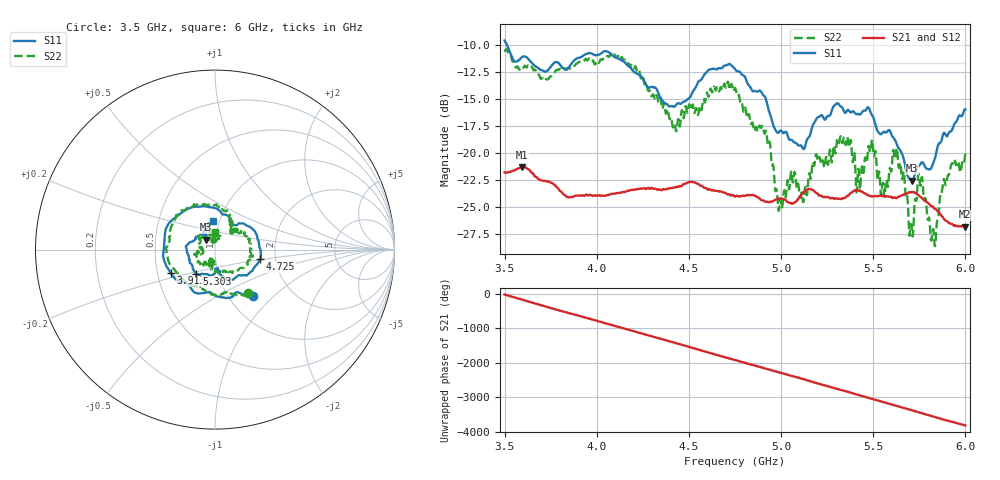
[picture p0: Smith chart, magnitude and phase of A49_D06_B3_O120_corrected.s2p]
! Created with skrf 1.9.0 (http://scikit-rf.org).
# Hz S RI R 50.0
!freq ReS11 ImS11 ReS21 ImS21 ReS12 ImS12 ReS22 ImS22
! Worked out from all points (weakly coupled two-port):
!   1601 points, 3.5 GHz to 6 GHz, reference 50 ohm
!   highest |S21| = -21.27 dB at 3.594 GHz (marker M1); lowest = -26.8 dB at 5.995 GHz (marker M2)
!   lowest |S11| = -22.5 dB at 5.711 GHz (marker M3), VSWR 1.16, Z = 45 + j5 ohm
!   |S11| at or under -10 dB: 3.514 GHz to end of sweep
!   |S22| runs from -28.6 to -10.4 dB; largest |S21 - S12| = 0.0009
!   S11 on the Smith chart (normalised r, x): 3.5 GHz: 1.29, -0.75; 3.913 GHz: 0.59, -0.17; 4.725 GHz: 1.66, -0.19; 5.303 GHz: 0.78, -0.22; 6 GHz: 0.93, +0.30
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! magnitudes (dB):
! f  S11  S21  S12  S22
! 3.5 GHz  -9.5  -21.8  -21.7  -10.4
! 3.594 GHz  -11.1  -21.3  -21.3  -12.1
! 3.913 GHz  -11.1  -23.9  -23.9  -11.5
! 3.917 GHz  -11.1  -23.9  -23.9  -11.4
! 4.334 GHz  -14.4  -23.3  -23.3  -15.3
! 4.423 GHz  -15.7  -23.2  -23.1  -17.3
! 4.725 GHz  -11.8  -23.9  -23.8  -14.0
! 4.75 GHz  -12.2  -24.0  -23.9  -13.9
! 4.911 GHz  -14.7  -24.4  -24.4  -18.2
! 4.994 GHz  -17.9  -24.2  -24.1  -24.5
! 5.167 GHz  -17.7  -23.4  -23.3  -21.4
! 5.303 GHz  -15.4  -24.2  -24.1  -18.8
! 5.419 GHz  -16.3  -23.4  -23.5  -21.5
! 5.486 GHz  -16.2  -24.0  -23.9  -19.7
! 5.584 GHz  -17.8  -24.0  -24.0  -22.2
! 5.636 GHz  -19.5  -24.0  -24.0  -21.1
! 5.711 GHz  -22.5  -23.6  -23.5  -27.3
! 5.755 GHz  -21.0  -24.0  -23.9  -22.9
! 5.827 GHz  -20.9  -25.0  -25.0  -27.1
! 5.877 GHz  -18.4  -25.9  -25.8  -23.1
! 5.995 GHz  -15.9  -26.8  -26.7  -20.6
! 6 GHz  -15.9  -26.8  -26.7  -20.0
